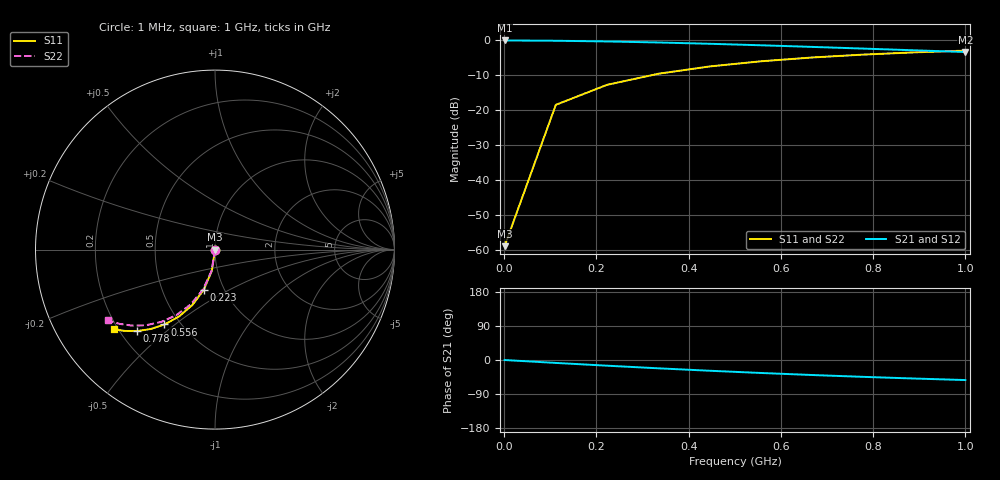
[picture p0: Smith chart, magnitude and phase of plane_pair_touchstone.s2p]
! Touchstone file exported from Ansys Full-Wave Spice
! Project: 0000
!  Design: unknown
! Creation time: Tue Jul 21 00:16:52 2026
! Notes: Touchstone(R) file created by SIwave 2026 R1
!  : Touchstone(R) file created on Tue Jul 21 00:16:52 2026
!  : Design: Cell_SRDGHW
!  : Path:
!  : *** SIwave SYZ Simulation Settings ***
!  : SI/PI Main
!  :  SI Simulation -  Balanced
!  : SI/PI Advanced
!  :  Coupling
!  :  Coplane: On
!  :  Intra-plane: Off
!  :  Split-plane: On
!  :  Cavity field: On
!  :  Trace: On
!  :  Cross-talk threshold: -34dB
!  :  Max. coupled lines: 12
!  :  Geometry Processing
!  :  Void area threshold: 2mm^2
!  :  Pad area threshold: 1mm^2
!  :  Planes area threshold: 6.25E-06mm^2
!  :  Vertex snap distance threshold: 0.0025mm
!  :  Mesh Refinement
!  :  Auto
!  :  AC/DC Merge
!  :  Default
!  :  Trace return current distribution: Off
!  :  Include voltage/current source parasitics: No
!  :  Add infinite ground plane: No
!  :  Exclude non-functional pads: Yes
!  : Temperature
!  :  Uniform distribution: 20cel
!  : Net Processing
!  :  Auto select nets
!  : S-parameter Modeling
!  :  State Space Model
!  : Sweep
!  :  Name: frequency_sweep
!  :  AC/DC Merge: Off
!  :  Interpolating Sweep
!  :  Relative error for S: 0.005
!  :  Frequency Point Distribution:
!  :  Linear: 1E+06Hz -> 1E+09Hz 10 pts
!  :  Enforce Causality: No
!  :  Enforce Passivity: Yes
!  :  Q3D Regions: Off
!  :  HFSS Regions: Off
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# HZ S RI R 50
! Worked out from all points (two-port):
!   10 points, 1 MHz to 1 GHz, reference 50 ohm
!   highest |S21| = 0.00 dB at 1 MHz (marker M1); lowest = -3.3 dB at 1 GHz (marker M2)
!   |S21| within 3 dB of the highest: start of sweep to 930.9 MHz
!   lowest |S11| = -58.8 dB at 1 MHz (marker M3), VSWR 1.00, Z = 50 - j0.115 ohm
!   |S11| at or under -10 dB: start of sweep to 317.3 MHz
!   |S22| runs from -58.8 to -2.9 dB; largest |S21 - S12| = 0
!   S11 on the Smith chart (normalised r, x): 1 MHz: 1.00, -0.00; 223 MHz: 0.80, -0.38; 556 MHz: 0.41, -0.46; 778 MHz: 0.27, -0.40; 1 GHz: 0.19, -0.34
1000000  -8.98e-06 -0.00115  1 -0.00128  1 -0.00128  -9.08e-06 -0.00115
1.12e8  -0.0179 -0.119  0.9813 -0.1329  0.9813 -0.1329  -0.019 -0.1188
2.23e8  -0.0624 -0.2235  0.9348 -0.2508  0.9348 -0.2508  -0.0667 -0.2222
3.34e8  -0.1265 -0.3092  0.868 -0.3491  0.868 -0.3491  -0.1352 -0.3054
4.45e8  -0.2019 -0.3736  0.7892 -0.4253  0.7892 -0.4253  -0.2159 -0.3656
5.56e8  -0.2815 -0.4173  0.7059 -0.4799  0.7059 -0.4799  -0.301 -0.4033
6.67e8  -0.3599 -0.4428  0.6238 -0.5157  0.6238 -0.5157  -0.3845 -0.4214
7.78e8  -0.4336 -0.4537  0.5464 -0.5362  0.5464 -0.5362  -0.4629 -0.4236
8.89e8  -0.5009 -0.4533  0.4756 -0.5449  0.4756 -0.5449  -0.534 -0.4135
1e9  -0.561 -0.4447  0.4121 -0.5451  0.4121 -0.5451  -0.5971 -0.3944
